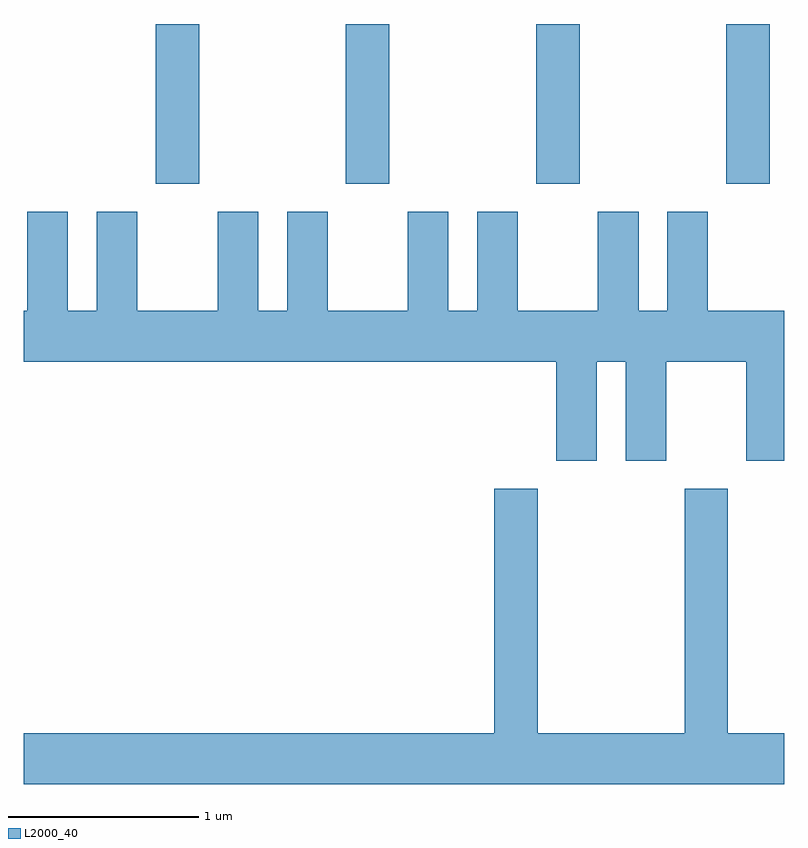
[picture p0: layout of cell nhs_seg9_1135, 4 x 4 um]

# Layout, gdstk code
import gdstk
lib = gdstk.Library(unit=1e-6, precision=1e-09)
def R(c, l, rs):  # rectangles x0, y0, x1, y1
    for r in rs: c.add(gdstk.rectangle(r[:2], r[2:], *l))
def A(c, l, x, y, w, h, nx, ny, dx, dy):  # array of equal rectangles
    R(c, l, [(x+i*dx, y+j*dy, x+i*dx+w, y+j*dy+h) for i in range(nx) for j in range(ny)])
def P(c, l, *ps):  # polygons
    for p in ps: c.add(gdstk.Polygon(p, *l))
L2000_40 = (2000, 40)

nhs_seg9_1135 = lib.new_cell('nhs_seg9_1135')
A(nhs_seg9_1135, L2000_40, 218.306, 2041.591, 0.228, 0.841, 4, 1, 1, 0)
P(nhs_seg9_1135, L2000_40, [(220.624,2040.656),(220.776,2040.656),(220.776,2040.136),(220.989,2040.136),(220.989,2040.656),(221.411,2040.656),(221.411,2040.136),(221.611,2040.136),(221.611,2040.924),(221.209,2040.924),(221.209,2041.444),(220.996,2041.444),(220.996,2040.924),(220.844,2040.924),(220.844,2041.444),(220.631,2041.444),(220.631,2040.924),(220.209,2040.924),(220.209,2041.444),(219.996,2041.444),(219.996,2040.924),(219.844,2040.924),(219.844,2041.444),(219.631,2041.444),(219.631,2040.924),(219.209,2040.924),(219.209,2041.444),(218.996,2041.444),(218.996,2040.924),(218.844,2040.924),(218.844,2041.444),(218.631,2041.444),(218.631,2040.924),(218.209,2040.924),(218.209,2041.444),(217.996,2041.444),(217.996,2040.924),(217.844,2040.924),(217.844,2041.444),(217.631,2041.444),(217.631,2040.924),(217.611,2040.924),(217.611,2040.656),(220.411,2040.656),(220.411,2040.136),(220.624,2040.136)],
  [(221.611,2038.704),(221.314,2038.704),(221.314,2039.989),(221.086,2039.989),(221.086,2038.704),(220.314,2038.704),(220.314,2039.989),(220.086,2039.989),(220.086,2038.704),(217.611,2038.704),(217.611,2038.436),(221.611,2038.436)])

lib.write_gds('nhs_seg9_1135.gds')
